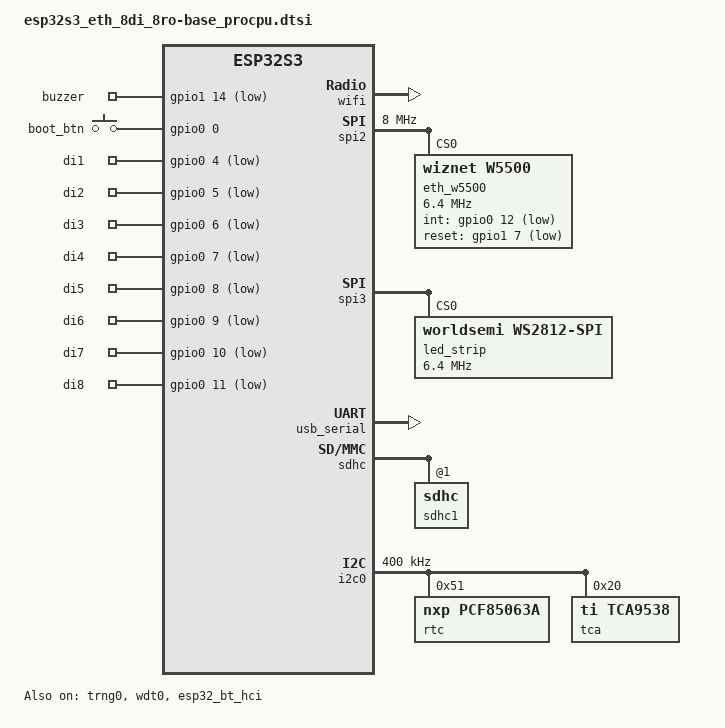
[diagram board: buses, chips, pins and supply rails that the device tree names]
/*
 * Copyright (c) 2025 Benjamin Schilling <benjamin.schilling33@gmail.com>
 * SPDX-License-Identifier: Apache-2.0
 */

/dts-v1/;

#include <espressif/esp32s3/esp32s3_wroom_n16r8.dtsi>
#include <espressif/partitions_0x0_amp_16M.dtsi>
#include <zephyr/dt-bindings/gpio/gpio.h>
#include <zephyr/dt-bindings/led/led.h>
#include "esp32s3_eth_8di_8ro-base-pinctrl.dtsi"

/ {
	buzzer {
		compatible = "gpio-leds";

		buzzer: buzzer_0 {
			gpios = <&gpio1 14 GPIO_ACTIVE_LOW>;
		};
	};

	button {
		compatible = "gpio-keys";

		boot_btn: button_0 {
			gpios = <&gpio0 0 GPIO_PULL_UP>;
		};
	};

	digital-input {
		compatible = "gpio-keys";

		di1: di_1 {
			gpios = <&gpio0 4 GPIO_ACTIVE_LOW>;
		};

		di2: di_2 {
			gpios = <&gpio0 5 GPIO_ACTIVE_LOW>;
		};

		di3: di_3 {
			gpios = <&gpio0 6 GPIO_ACTIVE_LOW>;
		};

		di4: di_4 {
			gpios = <&gpio0 7 GPIO_ACTIVE_LOW>;
		};

		di5: di_5 {
			gpios = <&gpio0 8 GPIO_ACTIVE_LOW>;
		};

		di6: di_6 {
			gpios = <&gpio0 9 GPIO_ACTIVE_LOW>;
		};

		di7: di_7 {
			gpios = <&gpio0 10 GPIO_ACTIVE_LOW>;
		};

		di8: di_8 {
			gpios = <&gpio0 11 GPIO_ACTIVE_LOW>;
		};
	};

};

&wifi {
	status = "okay";
};

&gpio0 {
	status = "okay";
};

&gpio1 {
	status = "okay";
};

&spi2 {
	status = "okay";
	#address-cells = <1>;
	#size-cells = <0>;
	pinctrl-0 = <&spim2_default>;
	pinctrl-names = "default";
	clock-frequency = <DT_FREQ_M(8)>;

	eth_w5500: w5500@0 {
		compatible = "wiznet,w5500";
		reg = <0x0>;
		spi-max-frequency = <6400000>;
		int-gpios = <&gpio0 12 GPIO_ACTIVE_LOW>;
		reset-gpios = <&gpio1 7 GPIO_ACTIVE_LOW>;
		local-mac-address = [00 00 00 01 02 03];
		status = "okay";
	};
};

&spi3 {
	status = "okay";
	#address-cells = <1>;
	#size-cells = <0>;
	pinctrl-0 = <&spim3_default>;
	pinctrl-names = "default";
	/* Workaround to support WS2812 driver */
	line-idle-low;

	led_strip: ws2812@0 {
		compatible = "worldsemi,ws2812-spi";
		reg = <0>; /* ignored, but necessary for SPI bindings */
		spi-max-frequency = <6400000>;
		chain-length = <1>; /* arbitrary; change at will */
		spi-cpha;
		spi-one-frame = <0xf0>; /* 11110000: 625 ns high and 625 ns low */
		spi-zero-frame = <0xc0>; /* 11000000: 312.5 ns high and 937.5 ns low */
		color-mapping = <LED_COLOR_ID_GREEN
				 LED_COLOR_ID_RED
				 LED_COLOR_ID_BLUE>;
	};
};

&usb_serial {
	status = "okay";
};

&trng0 {
	status = "okay";
};

&wdt0 {
	status = "okay";
};

&esp32_bt_hci {
	status = "okay";
};

&sdhc {
	status = "okay";

	sdhc1: sdhc@1 {
		status = "okay";
		pinctrl-0 = <&sdhc1_default>;
		pinctrl-names = "default";
		max-bus-freq = <52000000>;
		bus-width = <1>;
		power-delay-ms = <1000>;

		mmc {
			compatible = "zephyr,sdmmc-disk";
			disk-name = "SD";
			status = "okay";
		};
	};
};

&i2c0 {
	status = "okay";
	pinctrl-0 = <&i2c0_default>;
	pinctrl-names = "default";
	clock-frequency = <400000>;

	rtc: rtc@51 {
		status = "okay";
		compatible = "nxp,pcf85063a";
		reg = <0x51>;
	};

	tca: tca@20 {
		status = "okay";
		compatible = "ti,tca9538";
		reg = <0x20>;
		#gpio-cells = <2>;
		ngpios = <8>;
		gpio-controller;
	};
};
